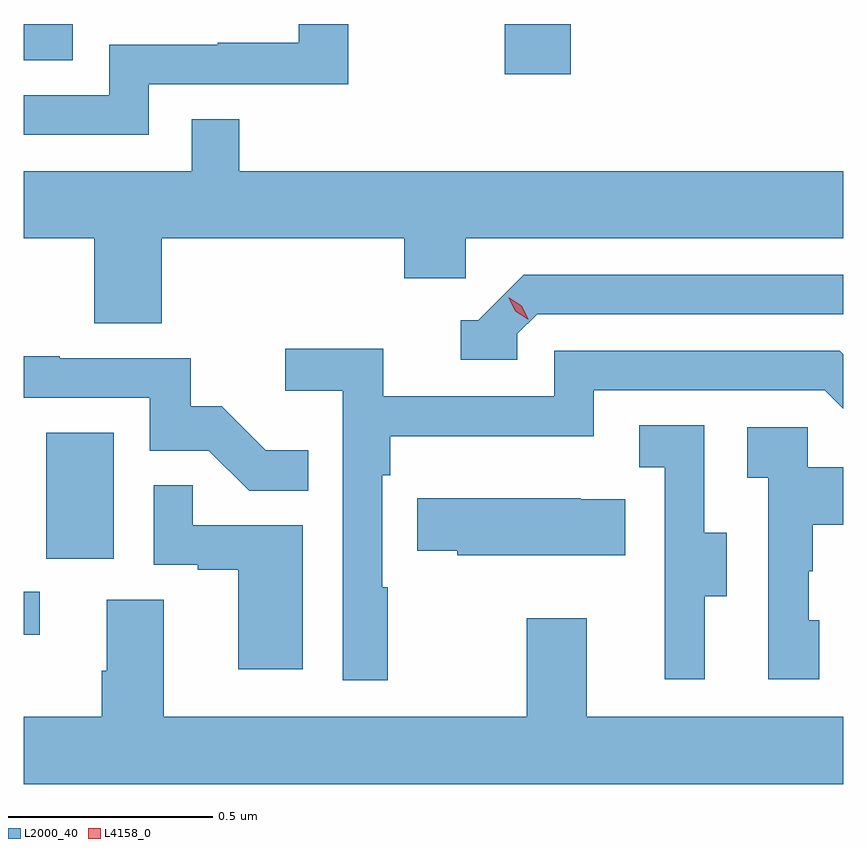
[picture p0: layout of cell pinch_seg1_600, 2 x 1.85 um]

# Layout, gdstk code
import gdstk
lib = gdstk.Library(unit=1e-6, precision=1e-09)
def R(c, l, rs):  # rectangles x0, y0, x1, y1
    for r in rs: c.add(gdstk.rectangle(r[:2], r[2:], *l))
def P(c, l, *ps):  # polygons
    for p in ps: c.add(gdstk.Polygon(p, *l))
L2000_40 = (2000, 40)
L4158_0 = (4158, 0)

pinch_seg1_600 = lib.new_cell('pinch_seg1_600')
R(pinch_seg1_600, L2000_40, [(1057.483,508.14,1057.522,508.245), (1057.538,508.326,1057.702,508.633), (1058.657,509.508,1058.818,509.631), (1057.483,509.542,1057.603,509.631)])
P(pinch_seg1_600, L2000_40, [(1057.788,509.484),(1058.275,509.484),(1058.275,509.631),(1058.154,509.631),(1058.154,509.585),(1057.957,509.585),(1057.957,509.58),(1057.692,509.58),(1057.692,509.457),(1057.483,509.457),(1057.483,509.361),(1057.788,509.361)],
  [(1057.82,509.108),(1058.411,509.108),(1058.411,509.01),(1058.562,509.01),(1058.562,509.108),(1059.483,509.108),(1059.483,509.272),(1058.009,509.272),(1058.009,509.399),(1057.893,509.399),(1057.893,509.272),(1057.483,509.272),(1057.483,509.108),(1057.655,509.108),(1057.655,508.9),(1057.82,508.9)],
  [(1058.688,508.875),(1058.736,508.923),(1059.483,508.923),(1059.483,509.019),(1058.703,509.019),(1058.592,508.908),(1058.549,508.908),(1058.549,508.812),(1058.688,508.812)],
  [(1058.371,508.256),(1058.358,508.256),(1058.358,508.529),(1058.378,508.529),(1058.378,508.625),(1058.874,508.625),(1058.874,508.737),(1059.438,508.737),(1059.483,508.692),(1059.483,508.825),(1059.475,508.833),(1058.778,508.833),(1058.778,508.722),(1058.36,508.722),(1058.36,508.838),(1058.121,508.838),(1058.121,508.736),(1058.262,508.736),(1058.262,508.029),(1058.371,508.029)],
  [(1058.177,508.591),(1058.073,508.591),(1057.966,508.698),(1057.89,508.698),(1057.89,508.815),(1057.571,508.815),(1057.571,508.82),(1057.483,508.82),(1057.483,508.719),(1057.791,508.719),(1057.791,508.59),(1057.935,508.59),(1058.033,508.492),(1058.177,508.492)],
  [(1059.145,508.234),(1059.199,508.234),(1059.199,508.389),(1059.144,508.389),(1059.144,508.652),(1058.985,508.652),(1058.985,508.549),(1059.048,508.549),(1059.048,508.245),(1059.047,508.245),(1059.047,508.032),(1059.145,508.032)],
  [(1059.424,508.176),(1059.399,508.176),(1059.399,508.295),(1059.409,508.295),(1059.409,508.409),(1059.483,508.409),(1059.483,508.549),(1059.396,508.549),(1059.396,508.647),(1059.249,508.647),(1059.249,508.523),(1059.3,508.523),(1059.3,508.032),(1059.424,508.032)],
  [(1058.164,508.407),(1057.895,508.407),(1057.895,508.505),(1057.8,508.505),(1057.8,508.311),(1057.907,508.311),(1057.907,508.299),(1058.006,508.299),(1058.006,508.056),(1058.164,508.056)],
  [(1058.951,508.471),(1058.843,508.471),(1058.843,508.474),(1058.443,508.474),(1058.443,508.345),(1058.541,508.345),(1058.541,508.334),(1058.951,508.334)],
  [(1059.483,507.94),(1058.857,507.94),(1058.857,508.18),(1058.71,508.18),(1058.71,507.94),(1057.825,507.94),(1057.825,508.226),(1057.685,508.226),(1057.685,508.052),(1057.673,508.052),(1057.673,507.94),(1057.483,507.94),(1057.483,507.776),(1059.483,507.776)])
P(pinch_seg1_600, L4158_0, [(1058.713,508.91),(1058.683,508.93),(1058.667,508.963),(1058.667,508.963),(1058.668,508.963),(1058.698,508.943),(1058.714,508.91),(1058.714,508.91)])

lib.write_gds('pinch_seg1_600.gds')
